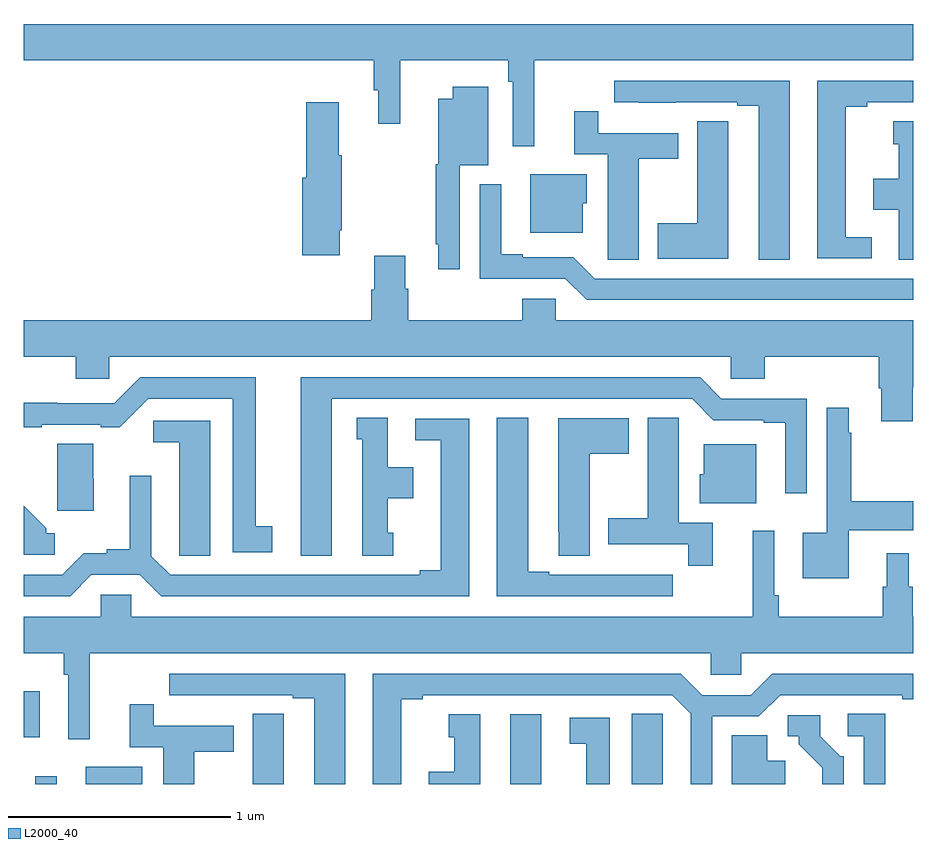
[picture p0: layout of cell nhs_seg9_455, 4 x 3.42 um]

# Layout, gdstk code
import gdstk
lib = gdstk.Library(unit=1e-6, precision=1e-09)
def R(c, l, rs):  # rectangles x0, y0, x1, y1
    for r in rs: c.add(gdstk.rectangle(r[:2], r[2:], *l))
def P(c, l, *ps):  # polygons
    for p in ps: c.add(gdstk.Polygon(p, *l))
L2000_40 = (2000, 40)

nhs_seg9_455 = lib.new_cell('nhs_seg9_455')
R(nhs_seg9_455, L2000_40, [(133.053,1194.5,133.15,1194.535), (133.28,1194.5,133.534,1194.577), (135.188,1194.5,135.328,1194.814), (133,1194.71,133.072,1194.916)])
P(nhs_seg9_455, L2000_40, [(135.296,1197.752),(137,1197.752),(137,1197.916),(133,1197.916),(133,1197.752),(134.575,1197.752),(134.575,1197.618),(134.594,1197.618),(134.594,1197.468),(134.694,1197.468),(134.694,1197.752),(135.178,1197.752),(135.178,1197.656),(135.198,1197.656),(135.198,1197.366),(135.296,1197.366)],
  [(136.813,1196.958),(136.696,1196.958),(136.696,1197.544),(136.792,1197.544),(136.792,1197.564),(137,1197.564),(137,1197.66),(136.568,1197.66),(136.568,1196.862),(136.813,1196.862)],
  [(136.444,1197.66),(135.654,1197.66),(135.654,1197.564),(135.766,1197.564),(135.766,1197.563),(135.932,1197.563),(135.932,1197.564),(136.208,1197.564),(136.208,1197.549),(136.304,1197.549),(136.304,1196.857),(136.444,1196.857)],
  [(134.961,1197.281),(135.088,1197.281),(135.088,1197.634),(134.93,1197.634),(134.93,1197.58),(134.864,1197.58),(134.864,1197.285),(134.853,1197.285),(134.853,1196.926),(134.864,1196.926),(134.864,1196.814),(134.961,1196.814)],
  [(134.422,1196.989),(134.43,1196.989),(134.43,1197.325),(134.416,1197.325),(134.416,1197.565),(134.27,1197.565),(134.27,1197.225),(134.252,1197.225),(134.252,1196.877),(134.422,1196.877)],
  [(135.766,1197.31),(135.943,1197.31),(135.943,1197.426),(135.584,1197.426),(135.584,1197.523),(135.476,1197.523),(135.476,1197.33),(135.626,1197.33),(135.626,1196.968),(135.627,1196.968),(135.627,1196.857),(135.766,1196.857)],
  [(136.168,1197.371),(136.167,1197.371),(136.167,1197.479),(136.028,1197.479),(136.028,1197.021),(135.851,1197.021),(135.851,1196.861),(136.168,1196.861)],
  [(137,1197.478),(136.91,1197.478),(136.91,1197.375),(136.934,1197.375),(136.934,1197.22),(136.82,1197.22),(136.82,1197.08),(136.934,1197.08),(136.934,1196.857),(137,1196.857)],
  [(135.514,1197.111),(135.532,1197.111),(135.532,1197.241),(135.278,1197.241),(135.278,1196.978),(135.514,1196.978)],
  [(137,1196.772),(135.567,1196.772),(135.471,1196.868),(135.244,1196.868),(135.244,1196.881),(135.148,1196.881),(135.148,1197.196),(135.051,1197.196),(135.051,1196.772),(135.435,1196.772),(135.531,1196.676),(137,1196.676)],
  [(136.996,1196.283),(137,1196.283),(137,1196.584),(135.393,1196.584),(135.393,1196.682),(135.242,1196.682),(135.242,1196.584),(134.729,1196.584),(134.729,1196.726),(134.716,1196.726),(134.716,1196.875),(134.576,1196.875),(134.576,1196.721),(134.564,1196.721),(134.564,1196.584),(133,1196.584),(133,1196.42),(133.235,1196.42),(133.235,1196.322),(133.386,1196.322),(133.386,1196.42),(136.179,1196.42),(136.179,1196.322),(136.331,1196.322),(136.331,1196.42),(136.844,1196.42),(136.844,1196.278),(136.856,1196.278),(136.856,1196.13),(136.996,1196.13)],
  [(134.119,1195.658),(134.044,1195.658),(134.044,1196.328),(133.524,1196.328),(133.407,1196.211),(133.151,1196.211),(133.151,1196.213),(133,1196.213),(133,1196.103),(133.081,1196.103),(133.081,1196.115),(133.346,1196.115),(133.346,1196.104),(133.432,1196.104),(133.56,1196.232),(133.94,1196.232),(133.94,1195.542),(134.119,1195.542)],
  [(134.386,1196.232),(136.005,1196.232),(136.101,1196.136),(136.328,1196.136),(136.328,1196.124),(136.424,1196.124),(136.424,1195.806),(136.521,1195.806),(136.521,1196.232),(136.137,1196.232),(136.041,1196.328),(134.246,1196.328),(134.246,1195.527),(134.386,1195.527)],
  [(136.708,1195.64),(136.999,1195.64),(136.999,1195.77),(136.72,1195.77),(136.72,1196.078),(136.708,1196.078),(136.708,1196.191),(136.611,1196.191),(136.611,1195.63),(136.502,1195.63),(136.502,1195.424),(136.708,1195.424)],
  [(135.919,1195.44),(135.806,1195.44),(135.806,1195.441),(135.64,1195.441),(135.64,1195.44),(135.364,1195.44),(135.364,1195.455),(135.268,1195.455),(135.268,1196.147),(135.128,1196.147),(135.128,1195.344),(135.919,1195.344)],
  [(134.662,1195.629),(134.638,1195.629),(134.638,1195.784),(134.752,1195.784),(134.752,1195.924),(134.638,1195.924),(134.638,1196.147),(134.498,1196.147),(134.498,1196.049),(134.522,1196.049),(134.522,1195.527),(134.662,1195.527)],
  [(136.097,1195.674),(135.946,1195.674),(135.946,1196.036),(135.945,1196.036),(135.945,1196.147),(135.806,1196.147),(135.806,1195.695),(135.629,1195.695),(135.629,1195.578),(135.988,1195.578),(135.988,1195.482),(136.097,1195.482)],
  [(135.544,1195.984),(135.721,1195.984),(135.721,1196.143),(135.404,1196.143),(135.404,1195.633),(135.405,1195.633),(135.405,1195.525),(135.544,1195.525)],
  [(133.305,1195.44),(133.523,1195.44),(133.619,1195.344),(135.004,1195.344),(135.004,1196.142),(134.76,1196.142),(134.76,1196.046),(134.876,1196.046),(134.876,1195.46),(134.78,1195.46),(134.78,1195.44),(133.659,1195.44),(133.575,1195.524),(133.575,1195.885),(133.478,1195.885),(133.478,1195.556),(133.374,1195.556),(133.374,1195.538),(133.271,1195.538),(133.173,1195.44),(133,1195.44),(133,1195.344),(133.209,1195.344)],
  [(133.84,1196.133),(133.584,1196.133),(133.584,1196.036),(133.7,1196.036),(133.7,1195.633),(133.701,1195.633),(133.701,1195.525),(133.84,1195.525)],
  [(133.315,1195.872),(133.314,1195.872),(133.314,1196.03),(133.151,1196.03),(133.151,1195.728),(133.315,1195.728)],
  [(136.294,1196.026),(136.058,1196.026),(136.058,1195.893),(136.04,1195.893),(136.04,1195.763),(136.294,1195.763)],
  [(133.141,1195.626),(133.102,1195.626),(133.102,1195.65),(133,1195.751),(133,1195.53),(133.141,1195.53)],
  [(133.485,1195.35),(133.347,1195.35),(133.347,1195.252),(133,1195.252),(133,1195.088),(133.18,1195.088),(133.18,1194.992),(133.2,1194.992),(133.2,1194.702),(133.298,1194.702),(133.298,1195.088),(136.089,1195.088),(136.089,1194.99),(136.227,1194.99),(136.227,1195.088),(137,1195.088),(137,1195.252),(136.997,1195.252),(136.997,1195.386),(136.978,1195.386),(136.978,1195.537),(136.88,1195.537),(136.88,1195.386),(136.861,1195.386),(136.861,1195.252),(136.394,1195.252),(136.394,1195.348),(136.374,1195.348),(136.374,1195.639),(136.277,1195.639),(136.277,1195.252),(133.485,1195.252)],
  [(134.698,1194.88),(134.794,1194.88),(134.794,1194.9),(135.915,1194.9),(135.999,1194.816),(135.999,1194.5),(136.095,1194.5),(136.095,1194.804),(136.305,1194.804),(136.401,1194.9),(136.949,1194.9),(136.949,1194.88),(137,1194.88),(137,1194.996),(136.365,1194.996),(136.269,1194.9),(136.051,1194.9),(135.955,1194.996),(134.57,1194.996),(134.57,1194.5),(134.698,1194.5)],
  [(134.446,1194.996),(133.656,1194.996),(133.656,1194.9),(133.768,1194.9),(133.768,1194.899),(133.934,1194.899),(133.934,1194.9),(134.21,1194.9),(134.21,1194.885),(134.306,1194.885),(134.306,1194.5),(134.446,1194.5)],
  [(133.768,1194.646),(133.945,1194.646),(133.945,1194.762),(133.586,1194.762),(133.586,1194.859),(133.478,1194.859),(133.478,1194.666),(133.628,1194.666),(133.628,1194.5),(133.768,1194.5)],
  [(136.873,1194.815),(136.704,1194.815),(136.704,1194.714),(136.776,1194.714),(136.776,1194.5),(136.873,1194.5)],
  [(134.17,1194.707),(134.169,1194.707),(134.169,1194.815),(134.03,1194.815),(134.03,1194.5),(134.17,1194.5)],
  [(135.874,1194.707),(135.873,1194.707),(135.873,1194.815),(135.734,1194.815),(135.734,1194.5),(135.874,1194.5)],
  [(135.052,1194.814),(134.912,1194.814),(134.912,1194.711),(134.936,1194.711),(134.936,1194.556),(134.822,1194.556),(134.822,1194.5),(135.052,1194.5)],
  [(136.686,1194.624),(136.671,1194.624),(136.581,1194.714),(136.581,1194.81),(136.434,1194.81),(136.434,1194.714),(136.484,1194.714),(136.484,1194.679),(136.589,1194.574),(136.589,1194.5),(136.686,1194.5)],
  [(135.634,1194.798),(135.456,1194.798),(135.456,1194.682),(135.53,1194.682),(135.53,1194.5),(135.634,1194.5)],
  [(136.423,1194.604),(136.342,1194.604),(136.342,1194.719),(136.184,1194.719),(136.184,1194.5),(136.423,1194.5)])

lib.write_gds('nhs_seg9_455.gds')
